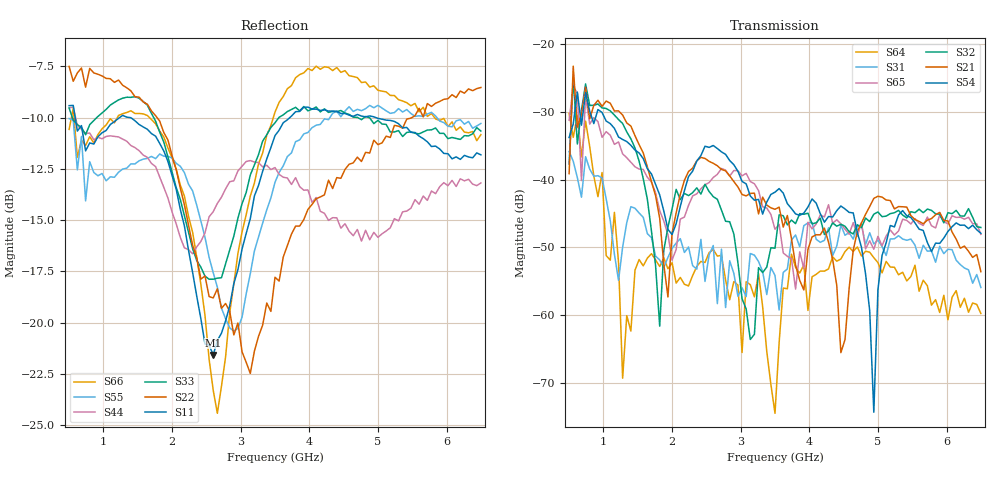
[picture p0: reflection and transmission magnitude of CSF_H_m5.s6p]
!Keysight Technologies,M9804A,MY58100912,A.14.10.03
!Date: Thursday, April 27, 2023 10:28:33
!Correction: S11(C  6-Port  )
!S12(C  6-Port  )
!S13(C  6-Port  )
!S14(C  6-Port  )
!S15(C  6-Port  )
!S16(C  6-Port  )
!S21(C  6-Port  )
!S22(C  6-Port  )
!S23(C  6-Port  )
!S24(C  6-Port  )
!S25(C  6-Port  )
!S26(C  6-Port  )
!S31(C  6-Port  )
!S32(C  6-Port  )
!S33(C  6-Port  )
!S34(C  6-Port  )
!S35(C  6-Port  )
!S36(C  6-Port  )
!S41(C  6-Port  )
!S42(C  6-Port  )
!S43(C  6-Port  )
!S44(C  6-Port  )
!S45(C  6-Port  )
!S46(C  6-Port  )
!S51(C  6-Port  )
!S52(C  6-Port  )
!S53(C  6-Port  )
!S54(C  6-Port  )
!S55(C  6-Port  )
!S56(C  6-Port  )
!S61(C  6-Port  )
!S62(C  6-Port  )
!S63(C  6-Port  )
!S64(C  6-Port  )
!S65(C  6-Port  )
!S66(C  6-Port  )
!S6P File: Measurement: :
# Hz S  RI  R 50
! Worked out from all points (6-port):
!   101 points, 500 MHz to 6.5 GHz, reference 50 ohm
!   strongest paths, dB at 500 MHz, 2 GHz, 3.5 GHz, 5 GHz, 6.5 GHz:
!     S54: -33.8, -48.1, -41.9, -56.2, -47.9
!     S21: -39.1, -47.9, -44.4, -42.5, -53.6
!     S32: -37.7, -44.3, -50.1, -44.8, -47.1
!     S65: -31.3, -51.9, -47.3, -48.4, -48.1
!     S31: -35.9, -50.2, -54.1, -48.9, -55.9
!     S64: -30.3, -52.3, -74.5, -52.2, -59.7
!   lowest |S11| = -21.6 dB at 2.6 GHz (marker M1), VSWR 1.18, Z = 42.5 + j2.01 ohm
!   |S11| at or under -10 dB: 588.6 MHz to 1.235 GHz (646.2 MHz wide, 70.9 % of centre); 1.39 GHz to 3.715 GHz (2.325 GHz wide, 91.1 % of centre); 4.971 GHz to end of sweep
